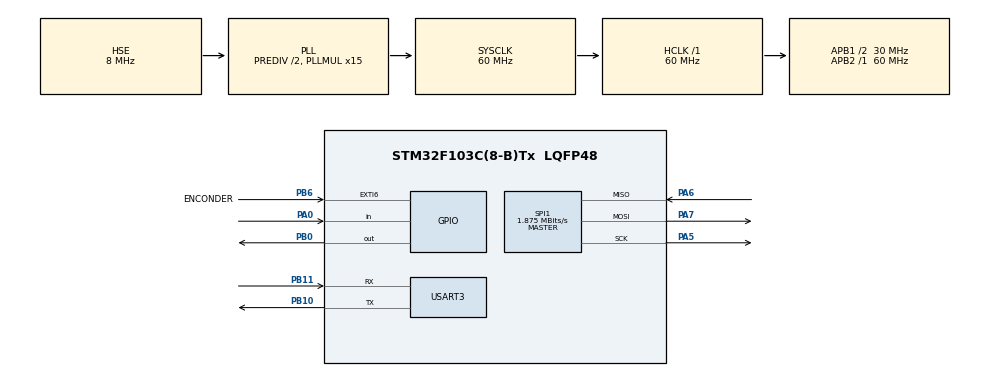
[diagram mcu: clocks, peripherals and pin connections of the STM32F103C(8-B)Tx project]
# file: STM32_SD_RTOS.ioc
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FATFS._MAX_SS=512
FREERTOS.Tasks01=defaultTask,0,128,StartDefaultTask,Default,NULL,Dynamic,NULL,NULL
Mcu.Family=STM32F1
Mcu.Name=STM32F103C(8-B)Tx
Mcu.Package=LQFP48
NVIC.EXTI9_5_IRQn=true\:5\:0\:false\:false\:true\:true\:true\:true
NVIC.PriorityGroup=NVIC_PRIORITYGROUP_4
NVIC.TIM4_IRQn=true\:0\:0\:false\:false\:true\:false\:false\:true
NVIC.TimeBase=TIM4_IRQn
NVIC.TimeBaseIP=TIM4
PA0-WKUP.Signal=GPIO_Input
PA13.Mode=Serial_Wire
PA13.Signal=SYS_JTMS-SWDIO
PA14.Mode=Serial_Wire
PA14.Signal=SYS_JTCK-SWCLK
PA5.Mode=Full_Duplex_Master
PA5.Signal=SPI1_SCK
PA6.Mode=Full_Duplex_Master
PA6.Signal=SPI1_MISO
PA7.Mode=Full_Duplex_Master
PA7.Signal=SPI1_MOSI
PB0.Signal=GPIO_Output
PB10.Mode=Asynchronous
PB10.Signal=USART3_TX
PB11.Mode=Asynchronous
PB11.Signal=USART3_RX
PB6.GPIO_Label=ENCONDER
PB6.Signal=GPXTI6
PD0-OSC_IN.Mode=HSE-External-Oscillator
PD0-OSC_IN.Signal=RCC_OSC_IN
PD1-OSC_OUT.Mode=HSE-External-Oscillator
PD1-OSC_OUT.Signal=RCC_OSC_OUT
ProjectManager.HeapSize=0x200
ProjectManager.StackSize=0x400
ProjectManager.TargetToolchain=STM32CubeIDE
RCC.ADCPresc=RCC_ADCPCLK2_DIV6
RCC.AHBFreq_Value=60000000
RCC.APB1CLKDivider=RCC_HCLK_DIV2
RCC.APB1Freq_Value=30000000
RCC.APB1TimFreq_Value=60000000
RCC.APB2Freq_Value=60000000
RCC.APB2TimFreq_Value=60000000
RCC.HCLKFreq_Value=60000000
RCC.HSEDivPLL=RCC_HSE_PREDIV_DIV2
RCC.PLLMUL=RCC_PLL_MUL15
RCC.PLLSourceVirtual=RCC_PLLSOURCE_HSE
RCC.SYSCLKFreq_VALUE=60000000
RCC.SYSCLKSource=RCC_SYSCLKSOURCE_PLLCLK
RCC.USBFreq_Value=60000000
SPI1.BaudRatePrescaler=SPI_BAUDRATEPRESCALER_32
SPI1.CalculateBaudRate=1.875 MBits/s
SPI1.Direction=SPI_DIRECTION_2LINES
SPI1.Mode=SPI_MODE_MASTER
SPI1.VirtualType=VM_MASTER
TIM3.AutoReloadPreload=TIM_AUTORELOAD_PRELOAD_ENABLE
TIM3.Period=65535-1
TIM3.Prescaler=720-1
USART3.VirtualMode=VM_ASYNC
VP_FATFS_VS_Generic.Mode=User_defined
VP_FREERTOS_VS_CMSIS_V1.Mode=CMSIS_V1
VP_SYS_VS_tim4.Mode=TIM4
VP_TIM3_VS_ClockSourceINT.Mode=Internal
board=custom

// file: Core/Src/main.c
/* USER CODE BEGIN Header */
/**
  ******************************************************************************
  * @file           : main.c
  * @brief          : Main program body
  ******************************************************************************
  * @attention
  *
  * <h2><center>&copy; Copyright (c) 2020 STMicroelectronics.
  * All rights reserved.</center></h2>
  *
  * This software component is licensed by ST under BSD 3-Clause license,
  * the "License"; You may not use this file except in compliance with the
  * License. You may obtain a copy of the License at:
  *                        opensource.org/licenses/BSD-3-Clause
  *
  ******************************************************************************
  */
/* USER CODE END Header */

#include "main.h"

/* USER CODE BEGIN Includes */

#include "FreeRTOS.h"
#include "task.h"
#include "timers.h"
#include "queue.h"
#include "semphr.h"
#include "event_groups.h"

#include "File_Handling_RTOS.h"
#include "fatfs_sd.h"
#include "fatfs.h"

/* USER CODE END Includes */

SPI_HandleTypeDef hspi1;

TIM_HandleTypeDef htim3;

UART_HandleTypeDef huart3;

void SystemClock_Config(void);
static void MX_GPIO_Init(void);
static void MX_SPI1_Init(void);
static void MX_TIM3_Init(void);
static void MX_USART3_UART_Init(void);

/* USER CODE BEGIN 0 */

uint32_t Delta, Valor_act,Valor_ant;

xTaskHandle SDCARD_Task_Hnadler;
xTaskHandle ENCONDER_Task_Hnadler;

xSemaphoreHandle DHT_SEM;

void SDCARD_Task (void *argument)
{
	int indx=1;
	while (1)
	{
		char *buffer = pvPortMalloc(50*sizeof(char));
		sprintf (buffer, "%d. %lu\n", indx,Delta);
		Mount_SD("/");
		Update_File("Velocidad.TXT", buffer);
		vPortFree(buffer);
		Unmount_SD("/");

		indx++;

		vTaskDelay(1000);
	}
}

void ENCONDER_Task (void *argument)
{
	while(1)
	{

	}
}

/* USER CODE END 0 */

int main(void)
{

  /* MCU Configuration--------------------------------------------------------*/

  /* Reset of all peripherals, Initializes the Flash interface and the Systick. */
  HAL_Init();

  /* Configure the system clock */
  SystemClock_Config();

  /* Initialize all configured peripherals */
  MX_GPIO_Init();
  MX_SPI1_Init();
  MX_TIM3_Init();
  MX_FATFS_Init();
  MX_USART3_UART_Init();
  /* USER CODE BEGIN 2 */

  Mount_SD("/");
  Format_SD();
  Create_File("Velocidad.TXT");
  Unmount_SD("/");

  DHT_SEM = xSemaphoreCreateBinary();
  xSemaphoreGive(DHT_SEM);

  xTaskCreate(SDCARD_Task, "SD", 128, NULL, 3, &SDCARD_Task_Hnadler);
  xTaskCreate(ENCONDER_Task, "ENCONDER", 128, NULL, 2, &ENCONDER_Task_Hnadler);

  HAL_TIM_Base_Start(&htim3);  // Timer utilizado para obtene pulsos de reloj entre pulso de encoder

  vTaskStartScheduler();

  /* USER CODE END 2 */

  /* Infinite loop */
  while (1)
  {

  }
}

void SystemClock_Config(void)
{
  RCC_OscInitTypeDef RCC_OscInitStruct = {0};
  RCC_ClkInitTypeDef RCC_ClkInitStruct = {0};

  /** Initializes the CPU, AHB and APB busses clocks
  */
  RCC_OscInitStruct.OscillatorType = RCC_OSCILLATORTYPE_HSE;
  RCC_OscInitStruct.HSEState = RCC_HSE_ON;
  RCC_OscInitStruct.HSEPredivValue = RCC_HSE_PREDIV_DIV2;
  RCC_OscInitStruct.HSIState = RCC_HSI_ON;
  RCC_OscInitStruct.PLL.PLLState = RCC_PLL_ON;
  RCC_OscInitStruct.PLL.PLLSource = RCC_PLLSOURCE_HSE;
  RCC_OscInitStruct.PLL.PLLMUL = RCC_PLL_MUL15;
  if (HAL_RCC_OscConfig(&RCC_OscInitStruct) != HAL_OK)
  {
    Error_Handler();
  }
  /** Initializes the CPU, AHB and APB busses clocks
  */
  RCC_ClkInitStruct.ClockType = RCC_CLOCKTYPE_HCLK|RCC_CLOCKTYPE_SYSCLK
                              |RCC_CLOCKTYPE_PCLK1|RCC_CLOCKTYPE_PCLK2;
  RCC_ClkInitStruct.SYSCLKSource = RCC_SYSCLKSOURCE_PLLCLK;
  RCC_ClkInitStruct.AHBCLKDivider = RCC_SYSCLK_DIV1;
  RCC_ClkInitStruct.APB1CLKDivider = RCC_HCLK_DIV2;
  RCC_ClkInitStruct.APB2CLKDivider = RCC_HCLK_DIV1;

  if (HAL_RCC_ClockConfig(&RCC_ClkInitStruct, FLASH_LATENCY_2) != HAL_OK)
  {
    Error_Handler();
  }
}

static void MX_SPI1_Init(void)
{

  /* SPI1 parameter configuration*/
  hspi1.Instance = SPI1;
  hspi1.Init.Mode = SPI_MODE_MASTER;
  hspi1.Init.Direction = SPI_DIRECTION_2LINES;
  hspi1.Init.DataSize = SPI_DATASIZE_8BIT;
  hspi1.Init.CLKPolarity = SPI_POLARITY_LOW;
  hspi1.Init.CLKPhase = SPI_PHASE_1EDGE;
  hspi1.Init.NSS = SPI_NSS_SOFT;
  hspi1.Init.BaudRatePrescaler = SPI_BAUDRATEPRESCALER_32;
  hspi1.Init.FirstBit = SPI_FIRSTBIT_MSB;
  hspi1.Init.TIMode = SPI_TIMODE_DISABLE;
  hspi1.Init.CRCCalculation = SPI_CRCCALCULATION_DISABLE;
  hspi1.Init.CRCPolynomial = 10;
  if (HAL_SPI_Init(&hspi1) != HAL_OK)
  {
    Error_Handler();
  }

}

static void MX_TIM3_Init(void)
{

  TIM_ClockConfigTypeDef sClockSourceConfig = {0};
  TIM_MasterConfigTypeDef sMasterConfig = {0};

  htim3.Instance = TIM3;
  htim3.Init.Prescaler = 720-1;
  htim3.Init.CounterMode = TIM_COUNTERMODE_UP;
  htim3.Init.Period = 65535-1;
  htim3.Init.ClockDivision = TIM_CLOCKDIVISION_DIV1;
  htim3.Init.AutoReloadPreload = TIM_AUTORELOAD_PRELOAD_ENABLE;
  if (HAL_TIM_Base_Init(&htim3) != HAL_OK)
  {
    Error_Handler();
  }
  sClockSourceConfig.ClockSource = TIM_CLOCKSOURCE_INTERNAL;
  if (HAL_TIM_ConfigClockSource(&htim3, &sClockSourceConfig) != HAL_OK)
  {
    Error_Handler();
  }
  sMasterConfig.MasterOutputTrigger = TIM_TRGO_RESET;
  sMasterConfig.MasterSlaveMode = TIM_MASTERSLAVEMODE_DISABLE;
  if (HAL_TIMEx_MasterConfigSynchronization(&htim3, &sMasterConfig) != HAL_OK)
  {
    Error_Handler();
  }

}

static void MX_USART3_UART_Init(void)
{

  huart3.Instance = USART3;
  huart3.Init.BaudRate = 115200;
  huart3.Init.WordLength = UART_WORDLENGTH_8B;
  huart3.Init.StopBits = UART_STOPBITS_1;
  huart3.Init.Parity = UART_PARITY_NONE;
  huart3.Init.Mode = UART_MODE_TX_RX;
  huart3.Init.HwFlowCtl = UART_HWCONTROL_NONE;
  huart3.Init.OverSampling = UART_OVERSAMPLING_16;
  if (HAL_UART_Init(&huart3) != HAL_OK)
  {
    Error_Handler();
  }

}

static void MX_GPIO_Init(void)
{
  GPIO_InitTypeDef GPIO_InitStruct = {0};

  /* GPIO Ports Clock Enable */
  __HAL_RCC_GPIOD_CLK_ENABLE();
  __HAL_RCC_GPIOA_CLK_ENABLE();
  __HAL_RCC_GPIOB_CLK_ENABLE();

  /*Configure GPIO pin Output Level */
  HAL_GPIO_WritePin(GPIOB, GPIO_PIN_0, GPIO_PIN_RESET);

  /*Configure GPIO pin : PA0 */
  GPIO_InitStruct.Pin = GPIO_PIN_0;
  GPIO_InitStruct.Mode = GPIO_MODE_INPUT;
  GPIO_InitStruct.Pull = GPIO_NOPULL;
  HAL_GPIO_Init(GPIOA, &GPIO_InitStruct);

  /*Configure GPIO pin : PB0 */
  GPIO_InitStruct.Pin = GPIO_PIN_0;
  GPIO_InitStruct.Mode = GPIO_MODE_OUTPUT_PP;
  GPIO_InitStruct.Pull = GPIO_NOPULL;
  GPIO_InitStruct.Speed = GPIO_SPEED_FREQ_LOW;
  HAL_GPIO_Init(GPIOB, &GPIO_InitStruct);

  /*Configure GPIO pin : ENCONDER_Pin */
  GPIO_InitStruct.Pin = ENCONDER_Pin;
  GPIO_InitStruct.Mode = GPIO_MODE_IT_RISING;
  GPIO_InitStruct.Pull = GPIO_NOPULL;
  HAL_GPIO_Init(ENCONDER_GPIO_Port, &GPIO_InitStruct);

  /* EXTI interrupt init*/
  HAL_NVIC_SetPriority(EXTI9_5_IRQn, 5, 0);
  HAL_NVIC_EnableIRQ(EXTI9_5_IRQn);

}

/* USER CODE BEGIN 4 */

void HAL_GPIO_EXTI_Callback (uint16_t GPIO_Pin){
  if (GPIO_Pin == GPIO_PIN_6){

  	Delta=__HAL_TIM_GET_COUNTER(&htim3);
  }

  }

/* USER CODE END 4 */

/* USER CODE BEGIN Header_StartDefaultTask */

 /**
  * @brief  Period elapsed callback in non blocking mode
  * @note   This function is called  when TIM4 interrupt took place, inside
  * HAL_TIM_IRQHandler(). It makes a direct call to HAL_IncTick() to increment
  * a global variable "uwTick" used as application time base.
  * @param  htim : TIM handle
  * @retval None
  */
void HAL_TIM_PeriodElapsedCallback(TIM_HandleTypeDef *htim)
{
  /* USER CODE BEGIN Callback 0 */

	if (htim->Instance == TIM1)
	{
//		// release the semaphore here
//		 /* The xHigherPriorityTaskWoken parameter must be initialized to pdFALSE as
//		 it will get set to pdTRUE inside the interrupt safe API function if a
//		 context switch is required. */
//		BaseType_t xHigherPriorityTaskWoken = pdFALSE;
//
//		xSemaphoreGiveFromISR(DHT_SEM, &xHigherPriorityTaskWoken);  // ISR SAFE VERSION
//
//		/* Pass the xHigherPriorityTaskWoken value into portEND_SWITCHING_ISR(). If
//		 xHigherPriorityTaskWoken was set to pdTRUE inside xSemaphoreGiveFromISR()
//		 then calling portEND_SWITCHING_ISR() will request a context switch. If
//		 xHigherPriorityTaskWoken is still pdFALSE then calling
//		 portEND_SWITCHING_ISR() will have no effect */
//
//		portEND_SWITCHING_ISR( xHigherPriorityTaskWoken );
	}

  /* USER CODE END Callback 0 */
  if (htim->Instance == TIM4) {
    HAL_IncTick();
  }
}

void Error_Handler(void)
{
}

/************************ (C) COPYRIGHT STMicroelectronics *****END OF FILE****/
